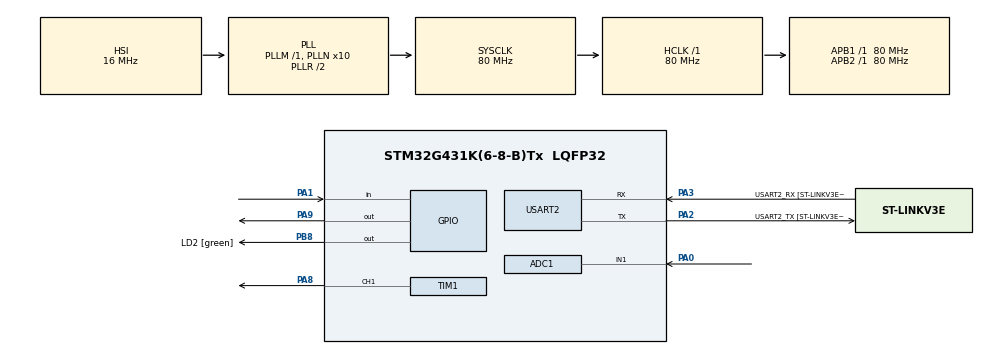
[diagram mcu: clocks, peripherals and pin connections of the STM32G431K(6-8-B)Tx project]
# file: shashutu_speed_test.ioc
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ADC1.Channel-0\#ChannelRegularConversion=ADC_CHANNEL_1
ADC1.ContinuousConvMode=ENABLE
ADC1.DMAContinuousRequests=ENABLE
ADC1.NbrOfConversionFlag=1
ADC1.OffsetNumber-0\#ChannelRegularConversion=ADC_OFFSET_NONE
ADC1.Rank-0\#ChannelRegularConversion=1
ADC1.SamplingTime-0\#ChannelRegularConversion=ADC_SAMPLETIME_92CYCLES_5
ADC1.master=1
Dma.ADC1.0.Direction=DMA_PERIPH_TO_MEMORY
Dma.ADC1.0.EventEnable=DISABLE
Dma.ADC1.0.Instance=DMA1_Channel1
Dma.ADC1.0.MemDataAlignment=DMA_MDATAALIGN_HALFWORD
Dma.ADC1.0.MemInc=DMA_MINC_ENABLE
Dma.ADC1.0.Mode=DMA_CIRCULAR
Dma.ADC1.0.PeriphDataAlignment=DMA_PDATAALIGN_HALFWORD
Dma.ADC1.0.PeriphInc=DMA_PINC_DISABLE
Dma.ADC1.0.Polarity=HAL_DMAMUX_REQ_GEN_RISING
Dma.ADC1.0.Priority=DMA_PRIORITY_MEDIUM
Dma.ADC1.0.RequestNumber=1
Dma.ADC1.0.SignalID=NONE
Dma.ADC1.0.SyncEnable=DISABLE
Dma.ADC1.0.SyncPolarity=HAL_DMAMUX_SYNC_NO_EVENT
Dma.ADC1.0.SyncRequestNumber=1
Dma.ADC1.0.SyncSignalID=NONE
Dma.Request0=ADC1
Mcu.Family=STM32G4
Mcu.Name=STM32G431K(6-8-B)Tx
Mcu.Package=LQFP32
NVIC.DMA1_Channel1_IRQn=true\:0\:0\:false\:false\:true\:false\:true
NVIC.PriorityGroup=NVIC_PRIORITYGROUP_4
NVIC.TIM1_BRK_TIM15_IRQn=true\:15\:0\:false\:false\:true\:false\:true
NVIC.TIM2_IRQn=true\:0\:0\:false\:false\:true\:true\:true
NVIC.TIM4_IRQn=true\:0\:0\:false\:false\:true\:true\:true
NVIC.TimeBase=TIM1_BRK_TIM15_IRQn
NVIC.TimeBaseIP=TIM15
PA0.Mode=IN1-Single-Ended
PA0.Signal=ADC1_IN1
PA1.Signal=GPIO_Input
PA13.GPIO_Label=T_SWDIO
PA13.Mode=Serial_Wire
PA13.Signal=SYS_JTMS-SWDIO
PA14.GPIO_Label=T_SWCLK
PA14.Mode=Serial_Wire
PA14.Signal=SYS_JTCK-SWCLK
PA2.GPIO_Label=USART2_TX [ST-LINKV3E_VCP_RX]
PA2.Mode=Asynchronous
PA2.Signal=USART2_TX
PA3.GPIO_Label=USART2_RX [ST-LINKV3E_VCP_TX]
PA3.Mode=Asynchronous
PA3.Signal=USART2_RX
PA8.Signal=S_TIM1_CH1
PA9.Signal=GPIO_Output
PB3.GPIO_Label=T_SWO
PB3.Signal=SYS_JTDO-SWO
PB8-BOOT0.GPIO_Label=LD2 [green]
PB8-BOOT0.Signal=GPIO_Output
ProjectManager.HeapSize=0x200
ProjectManager.StackSize=0x400
ProjectManager.TargetToolchain=STM32CubeIDE
RCC.ADC12Freq_Value=80000000
RCC.AHBFreq_Value=80000000
RCC.APB1Freq_Value=80000000
RCC.APB1TimFreq_Value=80000000
RCC.APB2Freq_Value=80000000
RCC.APB2TimFreq_Value=80000000
RCC.CortexFreq_Value=80000000
RCC.EXTERNAL_CLOCK_VALUE=12288000
RCC.HCLKFreq_Value=80000000
RCC.HSE_VALUE=8000000
RCC.HSI48_VALUE=48000000
RCC.HSI_VALUE=16000000
RCC.LSE_VALUE=32768
RCC.PLLN=10
RCC.SYSCLKFreq_VALUE=80000000
RCC.SYSCLKSource=RCC_SYSCLKSOURCE_PLLCLK
RCC.USBFreq_Value=80000000
RCC.VCOOutputFreq_Value=160000000
SH.S_TIM1_CH1.0=TIM1_CH1,PWM Generation1 CH1
TIM1.Channel-PWM\ Generation1\ CH1=TIM_CHANNEL_1
TIM1.PeriodNoDither=1000-1
TIM1.Prescaler=8-1
TIM2.PeriodNoDither=1000-1
TIM2.Prescaler=80-1
TIM4.PeriodNoDither=1000-1
TIM4.Prescaler=80-1
USART2.VirtualMode-Asynchronous=VM_ASYNC
USART2.WordLength=WORDLENGTH_8B
VP_SYS_VS_DBSignals.Mode=DisableDeadBatterySignals
VP_SYS_VS_tim15.Mode=TIM15
VP_TIM1_VS_ClockSourceINT.Mode=Internal
VP_TIM2_VS_ClockSourceINT.Mode=Internal
VP_TIM4_VS_ClockSourceINT.Mode=Internal
board=NUCLEO-G431KB

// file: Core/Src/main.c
/* USER CODE BEGIN Header */
/**
  ******************************************************************************
  * @file           : main.c
  * @brief          : Main program body
  ******************************************************************************
  * @attention
  *
  * <h2><center>&copy; Copyright (c) 2023 STMicroelectronics.
  * All rights reserved.</center></h2>
  *
  * This software component is licensed by ST under BSD 3-Clause license,
  * the "License"; You may not use this file except in compliance with the
  * License. You may obtain a copy of the License at:
  *                        opensource.org/licenses/BSD-3-Clause
  *
  ******************************************************************************
  */
/* USER CODE END Header */
#include "main.h"

/* USER CODE BEGIN Includes */
#include "stdio.h"
#include "string.h"
#include "stdlib.h"
#include "math.h"

#include "PID_anti_windup.h"
#include "PID_anti_windup_pos.h"
/* USER CODE END Includes */

/* USER CODE BEGIN PD */
#define POS_FILTER_C 0.85f
#define SPEED_FILTER_C 0.7f

#define ADC_BOTTOM 800
#define ADC_TOP 3800
#define STROKE 0.3f
#define TOGGLE_CONT_TH 0.25f
/* USER CODE END PD */

ADC_HandleTypeDef hadc1;
DMA_HandleTypeDef hdma_adc1;

TIM_HandleTypeDef htim1;
TIM_HandleTypeDef htim2;
TIM_HandleTypeDef htim4;

UART_HandleTypeDef huart2;

/* USER CODE BEGIN PV */
uint16_t ADC_VAL;
volatile float VAL_FILTERED = 0;
volatile float target = ADC_BOTTOM;

volatile float timer = 0;
volatile float target_speed = 2.5;
volatile float duty = 0;
volatile float pos_filtered = 0;
volatile float pre_pos = 0;
volatile float curr_speed_filtered = 0;
/* USER CODE END PV */

void SystemClock_Config(void);
static void MX_GPIO_Init(void);
static void MX_DMA_Init(void);
static void MX_ADC1_Init(void);
static void MX_TIM1_Init(void);
static void MX_TIM2_Init(void);
static void MX_TIM4_Init(void);
static void MX_USART2_UART_Init(void);

int main(void)
{
  /* USER CODE BEGIN 1 */
  setbuf(stdout, NULL);
  /* USER CODE END 1 */

  /* MCU Configuration--------------------------------------------------------*/

  /* Reset of all peripherals, Initializes the Flash interface and the Systick. */
  HAL_Init();

  /* Configure the system clock */
  SystemClock_Config();

  /* Initialize all configured peripherals */
  MX_GPIO_Init();
  MX_DMA_Init();
  MX_ADC1_Init();
  MX_TIM1_Init();
  MX_TIM2_Init();
  MX_TIM4_Init();
  MX_USART2_UART_Init();
  /* USER CODE BEGIN 2 */
  HAL_TIM_PWM_Start(&htim1, TIM_CHANNEL_1);
  HAL_TIM_Base_Start_IT(&htim2);
  HAL_TIM_Base_Start_IT(&htim4);
  HAL_ADCEx_Calibration_Start(&hadc1, ADC_SINGLE_ENDED);
  HAL_ADC_Start_DMA(&hadc1, (uint32_t *)&ADC_VAL, 1);
  HAL_GPIO_WritePin(LD2_GPIO_Port, LD2_Pin, GPIO_PIN_SET);

  __HAL_TIM_SET_COMPARE(&htim1, TIM_CHANNEL_1, 999);
  /* USER CODE END 2 */

  /* Infinite loop */
  /* USER CODE BEGIN WHILE */
  while (1)
  {

    HAL_Delay(5);
//    printf("%d\r\n", ADC_VAL);
//    printf("%d\r\n", HAL_GPIO_ReadPin(GPIOA, GPIO_PIN_1));
    if (HAL_GPIO_ReadPin(GPIOA, GPIO_PIN_1) == GPIO_PIN_SET) {
      HAL_TIM_Base_Start_IT(&htim2);
    } else {
      HAL_TIM_Base_Stop_IT(&htim2);
      __HAL_TIM_SET_COMPARE(&htim1, TIM_CHANNEL_1, 999);
    }

    /* USER CODE END WHILE */

  }
}

void SystemClock_Config(void)
{
  RCC_OscInitTypeDef RCC_OscInitStruct = {0};
  RCC_ClkInitTypeDef RCC_ClkInitStruct = {0};
  RCC_PeriphCLKInitTypeDef PeriphClkInit = {0};

  /** Configure the main internal regulator output voltage
  */
  HAL_PWREx_ControlVoltageScaling(PWR_REGULATOR_VOLTAGE_SCALE1);
  /** Initializes the RCC Oscillators according to the specified parameters
  * in the RCC_OscInitTypeDef structure.
  */
  RCC_OscInitStruct.OscillatorType = RCC_OSCILLATORTYPE_HSI;
  RCC_OscInitStruct.HSIState = RCC_HSI_ON;
  RCC_OscInitStruct.HSICalibrationValue = RCC_HSICALIBRATION_DEFAULT;
  RCC_OscInitStruct.PLL.PLLState = RCC_PLL_ON;
  RCC_OscInitStruct.PLL.PLLSource = RCC_PLLSOURCE_HSI;
  RCC_OscInitStruct.PLL.PLLM = RCC_PLLM_DIV1;
  RCC_OscInitStruct.PLL.PLLN = 10;
  RCC_OscInitStruct.PLL.PLLP = RCC_PLLP_DIV2;
  RCC_OscInitStruct.PLL.PLLQ = RCC_PLLQ_DIV2;
  RCC_OscInitStruct.PLL.PLLR = RCC_PLLR_DIV2;
  if (HAL_RCC_OscConfig(&RCC_OscInitStruct) != HAL_OK)
  {
    Error_Handler();
  }
  /** Initializes the CPU, AHB and APB buses clocks
  */
  RCC_ClkInitStruct.ClockType = RCC_CLOCKTYPE_HCLK|RCC_CLOCKTYPE_SYSCLK
                              |RCC_CLOCKTYPE_PCLK1|RCC_CLOCKTYPE_PCLK2;
  RCC_ClkInitStruct.SYSCLKSource = RCC_SYSCLKSOURCE_PLLCLK;
  RCC_ClkInitStruct.AHBCLKDivider = RCC_SYSCLK_DIV1;
  RCC_ClkInitStruct.APB1CLKDivider = RCC_HCLK_DIV1;
  RCC_ClkInitStruct.APB2CLKDivider = RCC_HCLK_DIV1;

  if (HAL_RCC_ClockConfig(&RCC_ClkInitStruct, FLASH_LATENCY_2) != HAL_OK)
  {
    Error_Handler();
  }
  /** Initializes the peripherals clocks
  */
  PeriphClkInit.PeriphClockSelection = RCC_PERIPHCLK_USART2|RCC_PERIPHCLK_ADC12;
  PeriphClkInit.Usart2ClockSelection = RCC_USART2CLKSOURCE_PCLK1;
  PeriphClkInit.Adc12ClockSelection = RCC_ADC12CLKSOURCE_SYSCLK;
  if (HAL_RCCEx_PeriphCLKConfig(&PeriphClkInit) != HAL_OK)
  {
    Error_Handler();
  }
}

static void MX_ADC1_Init(void)
{

  ADC_MultiModeTypeDef multimode = {0};
  ADC_ChannelConfTypeDef sConfig = {0};

  /** Common config
  */
  hadc1.Instance = ADC1;
  hadc1.Init.ClockPrescaler = ADC_CLOCK_SYNC_PCLK_DIV2;
  hadc1.Init.Resolution = ADC_RESOLUTION_12B;
  hadc1.Init.DataAlign = ADC_DATAALIGN_RIGHT;
  hadc1.Init.GainCompensation = 0;
  hadc1.Init.ScanConvMode = ADC_SCAN_DISABLE;
  hadc1.Init.EOCSelection = ADC_EOC_SINGLE_CONV;
  hadc1.Init.LowPowerAutoWait = DISABLE;
  hadc1.Init.ContinuousConvMode = ENABLE;
  hadc1.Init.NbrOfConversion = 1;
  hadc1.Init.DiscontinuousConvMode = DISABLE;
  hadc1.Init.ExternalTrigConv = ADC_SOFTWARE_START;
  hadc1.Init.ExternalTrigConvEdge = ADC_EXTERNALTRIGCONVEDGE_NONE;
  hadc1.Init.DMAContinuousRequests = ENABLE;
  hadc1.Init.Overrun = ADC_OVR_DATA_PRESERVED;
  hadc1.Init.OversamplingMode = DISABLE;
  if (HAL_ADC_Init(&hadc1) != HAL_OK)
  {
    Error_Handler();
  }
  /** Configure the ADC multi-mode
  */
  multimode.Mode = ADC_MODE_INDEPENDENT;
  if (HAL_ADCEx_MultiModeConfigChannel(&hadc1, &multimode) != HAL_OK)
  {
    Error_Handler();
  }
  /** Configure Regular Channel
  */
  sConfig.Channel = ADC_CHANNEL_1;
  sConfig.Rank = ADC_REGULAR_RANK_1;
  sConfig.SamplingTime = ADC_SAMPLETIME_92CYCLES_5;
  sConfig.SingleDiff = ADC_SINGLE_ENDED;
  sConfig.OffsetNumber = ADC_OFFSET_NONE;
  sConfig.Offset = 0;
  if (HAL_ADC_ConfigChannel(&hadc1, &sConfig) != HAL_OK)
  {
    Error_Handler();
  }

}

static void MX_TIM1_Init(void)
{

  TIM_ClockConfigTypeDef sClockSourceConfig = {0};
  TIM_MasterConfigTypeDef sMasterConfig = {0};
  TIM_OC_InitTypeDef sConfigOC = {0};
  TIM_BreakDeadTimeConfigTypeDef sBreakDeadTimeConfig = {0};

  htim1.Instance = TIM1;
  htim1.Init.Prescaler = 8-1;
  htim1.Init.CounterMode = TIM_COUNTERMODE_UP;
  htim1.Init.Period = 999;
  htim1.Init.ClockDivision = TIM_CLOCKDIVISION_DIV1;
  htim1.Init.RepetitionCounter = 0;
  htim1.Init.AutoReloadPreload = TIM_AUTORELOAD_PRELOAD_DISABLE;
  if (HAL_TIM_Base_Init(&htim1) != HAL_OK)
  {
    Error_Handler();
  }
  sClockSourceConfig.ClockSource = TIM_CLOCKSOURCE_INTERNAL;
  if (HAL_TIM_ConfigClockSource(&htim1, &sClockSourceConfig) != HAL_OK)
  {
    Error_Handler();
  }
  if (HAL_TIM_PWM_Init(&htim1) != HAL_OK)
  {
    Error_Handler();
  }
  sMasterConfig.MasterOutputTrigger = TIM_TRGO_RESET;
  sMasterConfig.MasterOutputTrigger2 = TIM_TRGO2_RESET;
  sMasterConfig.MasterSlaveMode = TIM_MASTERSLAVEMODE_DISABLE;
  if (HAL_TIMEx_MasterConfigSynchronization(&htim1, &sMasterConfig) != HAL_OK)
  {
    Error_Handler();
  }
  sConfigOC.OCMode = TIM_OCMODE_PWM1;
  sConfigOC.Pulse = 0;
  sConfigOC.OCPolarity = TIM_OCPOLARITY_HIGH;
  sConfigOC.OCNPolarity = TIM_OCNPOLARITY_HIGH;
  sConfigOC.OCFastMode = TIM_OCFAST_DISABLE;
  sConfigOC.OCIdleState = TIM_OCIDLESTATE_RESET;
  sConfigOC.OCNIdleState = TIM_OCNIDLESTATE_RESET;
  if (HAL_TIM_PWM_ConfigChannel(&htim1, &sConfigOC, TIM_CHANNEL_1) != HAL_OK)
  {
    Error_Handler();
  }
  sBreakDeadTimeConfig.OffStateRunMode = TIM_OSSR_DISABLE;
  sBreakDeadTimeConfig.OffStateIDLEMode = TIM_OSSI_DISABLE;
  sBreakDeadTimeConfig.LockLevel = TIM_LOCKLEVEL_OFF;
  sBreakDeadTimeConfig.DeadTime = 0;
  sBreakDeadTimeConfig.BreakState = TIM_BREAK_DISABLE;
  sBreakDeadTimeConfig.BreakPolarity = TIM_BREAKPOLARITY_HIGH;
  sBreakDeadTimeConfig.BreakFilter = 0;
  sBreakDeadTimeConfig.BreakAFMode = TIM_BREAK_AFMODE_INPUT;
  sBreakDeadTimeConfig.Break2State = TIM_BREAK2_DISABLE;
  sBreakDeadTimeConfig.Break2Polarity = TIM_BREAK2POLARITY_HIGH;
  sBreakDeadTimeConfig.Break2Filter = 0;
  sBreakDeadTimeConfig.Break2AFMode = TIM_BREAK_AFMODE_INPUT;
  sBreakDeadTimeConfig.AutomaticOutput = TIM_AUTOMATICOUTPUT_DISABLE;
  if (HAL_TIMEx_ConfigBreakDeadTime(&htim1, &sBreakDeadTimeConfig) != HAL_OK)
  {
    Error_Handler();
  }
  HAL_TIM_MspPostInit(&htim1);

}

static void MX_TIM2_Init(void)
{

  TIM_ClockConfigTypeDef sClockSourceConfig = {0};
  TIM_MasterConfigTypeDef sMasterConfig = {0};

  htim2.Instance = TIM2;
  htim2.Init.Prescaler = 80-1;
  htim2.Init.CounterMode = TIM_COUNTERMODE_UP;
  htim2.Init.Period = 999;
  htim2.Init.ClockDivision = TIM_CLOCKDIVISION_DIV1;
  htim2.Init.AutoReloadPreload = TIM_AUTORELOAD_PRELOAD_DISABLE;
  if (HAL_TIM_Base_Init(&htim2) != HAL_OK)
  {
    Error_Handler();
  }
  sClockSourceConfig.ClockSource = TIM_CLOCKSOURCE_INTERNAL;
  if (HAL_TIM_ConfigClockSource(&htim2, &sClockSourceConfig) != HAL_OK)
  {
    Error_Handler();
  }
  sMasterConfig.MasterOutputTrigger = TIM_TRGO_RESET;
  sMasterConfig.MasterSlaveMode = TIM_MASTERSLAVEMODE_DISABLE;
  if (HAL_TIMEx_MasterConfigSynchronization(&htim2, &sMasterConfig) != HAL_OK)
  {
    Error_Handler();
  }

}

static void MX_TIM4_Init(void)
{

  TIM_ClockConfigTypeDef sClockSourceConfig = {0};
  TIM_MasterConfigTypeDef sMasterConfig = {0};

  htim4.Instance = TIM4;
  htim4.Init.Prescaler = 80-1;
  htim4.Init.CounterMode = TIM_COUNTERMODE_UP;
  htim4.Init.Period = 999;
  htim4.Init.ClockDivision = TIM_CLOCKDIVISION_DIV1;
  htim4.Init.AutoReloadPreload = TIM_AUTORELOAD_PRELOAD_DISABLE;
  if (HAL_TIM_Base_Init(&htim4) != HAL_OK)
  {
    Error_Handler();
  }
  sClockSourceConfig.ClockSource = TIM_CLOCKSOURCE_INTERNAL;
  if (HAL_TIM_ConfigClockSource(&htim4, &sClockSourceConfig) != HAL_OK)
  {
    Error_Handler();
  }
  sMasterConfig.MasterOutputTrigger = TIM_TRGO_RESET;
  sMasterConfig.MasterSlaveMode = TIM_MASTERSLAVEMODE_DISABLE;
  if (HAL_TIMEx_MasterConfigSynchronization(&htim4, &sMasterConfig) != HAL_OK)
  {
    Error_Handler();
  }

}

static void MX_USART2_UART_Init(void)
{

  huart2.Instance = USART2;
  huart2.Init.BaudRate = 115200;
  huart2.Init.WordLength = UART_WORDLENGTH_8B;
  huart2.Init.StopBits = UART_STOPBITS_1;
  huart2.Init.Parity = UART_PARITY_NONE;
  huart2.Init.Mode = UART_MODE_TX_RX;
  huart2.Init.HwFlowCtl = UART_HWCONTROL_NONE;
  huart2.Init.OverSampling = UART_OVERSAMPLING_16;
  huart2.Init.OneBitSampling = UART_ONE_BIT_SAMPLE_DISABLE;
  huart2.Init.ClockPrescaler = UART_PRESCALER_DIV1;
  huart2.AdvancedInit.AdvFeatureInit = UART_ADVFEATURE_NO_INIT;
  if (HAL_UART_Init(&huart2) != HAL_OK)
  {
    Error_Handler();
  }
  if (HAL_UARTEx_SetTxFifoThreshold(&huart2, UART_TXFIFO_THRESHOLD_1_8) != HAL_OK)
  {
    Error_Handler();
  }
  if (HAL_UARTEx_SetRxFifoThreshold(&huart2, UART_RXFIFO_THRESHOLD_1_8) != HAL_OK)
  {
    Error_Handler();
  }
  if (HAL_UARTEx_DisableFifoMode(&huart2) != HAL_OK)
  {
    Error_Handler();
  }

}

static void MX_DMA_Init(void)
{

  /* DMA controller clock enable */
  __HAL_RCC_DMAMUX1_CLK_ENABLE();
  __HAL_RCC_DMA1_CLK_ENABLE();

  /* DMA interrupt init */
  /* DMA1_Channel1_IRQn interrupt configuration */
  HAL_NVIC_SetPriority(DMA1_Channel1_IRQn, 0, 0);
  HAL_NVIC_EnableIRQ(DMA1_Channel1_IRQn);

}

static void MX_GPIO_Init(void)
{
  GPIO_InitTypeDef GPIO_InitStruct = {0};

  /* GPIO Ports Clock Enable */
  __HAL_RCC_GPIOA_CLK_ENABLE();
  __HAL_RCC_GPIOB_CLK_ENABLE();

  /*Configure GPIO pin Output Level */
  HAL_GPIO_WritePin(GPIOA, GPIO_PIN_9, GPIO_PIN_RESET);

  /*Configure GPIO pin Output Level */
  HAL_GPIO_WritePin(LD2_GPIO_Port, LD2_Pin, GPIO_PIN_RESET);

  /*Configure GPIO pin : PA1 */
  GPIO_InitStruct.Pin = GPIO_PIN_1;
  GPIO_InitStruct.Mode = GPIO_MODE_INPUT;
  GPIO_InitStruct.Pull = GPIO_NOPULL;
  HAL_GPIO_Init(GPIOA, &GPIO_InitStruct);

  /*Configure GPIO pin : PA9 */
  GPIO_InitStruct.Pin = GPIO_PIN_9;
  GPIO_InitStruct.Mode = GPIO_MODE_OUTPUT_PP;
  GPIO_InitStruct.Pull = GPIO_NOPULL;
  GPIO_InitStruct.Speed = GPIO_SPEED_FREQ_LOW;
  HAL_GPIO_Init(GPIOA, &GPIO_InitStruct);

  /*Configure GPIO pin : LD2_Pin */
  GPIO_InitStruct.Pin = LD2_Pin;
  GPIO_InitStruct.Mode = GPIO_MODE_OUTPUT_PP;
  GPIO_InitStruct.Pull = GPIO_NOPULL;
  GPIO_InitStruct.Speed = GPIO_SPEED_FREQ_LOW;
  HAL_GPIO_Init(LD2_GPIO_Port, &GPIO_InitStruct);

}

/* USER CODE BEGIN 4 */
int _write(int file, char *ptr, int len) {
  HAL_UART_Transmit(&huart2, (uint8_t *)ptr, len, 5);
  return len;
}

float ADC_VAL_to_pos(int ADC_VAL) {
  return (float)(ADC_VAL-ADC_BOTTOM)/(float)(ADC_TOP-ADC_BOTTOM)*STROKE;
}
/* USER CODE END 4 */

void HAL_TIM_PeriodElapsedCallback(TIM_HandleTypeDef *htim)
{
  if (htim->Instance == TIM15) {
    HAL_IncTick();
  }
  /* USER CODE BEGIN Callback 1 */
  if (htim->Instance == TIM2) {
//    printf("TIM2\r\n");

    if (pos_filtered < TOGGLE_CONT_TH) {
      // speed control
      HAL_GPIO_WritePin(LD2_GPIO_Port, LD2_Pin, GPIO_PIN_RESET);
      duty += calc_output_PID_AW(target_speed, curr_speed_filtered, 0.001);
    } else {
      //position control
//      printf("pos control\r\n");
      HAL_GPIO_WritePin(LD2_GPIO_Port, LD2_Pin, GPIO_PIN_SET);
      duty = calc_output_PID_AW_pos(ADC_TOP, ADC_VAL, 0.001);
    }

    if (duty > 950) {
      duty = 950;
    } else if (duty < -950) {
      duty = -950;
    }
    if ((duty <= 0)) {
      __HAL_TIM_SET_COMPARE(&htim1, TIM_CHANNEL_1, (1000+(int)duty));
      HAL_GPIO_WritePin(GPIOA, GPIO_PIN_9, GPIO_PIN_RESET);
//      HAL_GPIO_WritePin(LD2_GPIO_Port, LD2_Pin, GPIO_PIN_RESET);
    } else {
      __HAL_TIM_SET_COMPARE(&htim1, TIM_CHANNEL_1, (1000-(int)duty));
      HAL_GPIO_WritePin(GPIOA, GPIO_PIN_9, GPIO_PIN_SET);
//      HAL_GPIO_WritePin(LD2_GPIO_Port, LD2_Pin, GPIO_PIN_SET);
    }

  }

  if (htim->Instance == TIM4) {
    pos_filtered = pos_filtered * POS_FILTER_C + (1 - POS_FILTER_C) * ADC_VAL_to_pos(ADC_VAL);
    curr_speed_filtered = SPEED_FILTER_C * curr_speed_filtered + (1 - SPEED_FILTER_C) * ((pos_filtered - pre_pos) / 0.001);
    pre_pos = pos_filtered;
//    target = 2000;

    timer += 0.001f;
    if (HAL_GPIO_ReadPin(GPIOA, GPIO_PIN_1) == GPIO_PIN_SET) {
//      printf("%.3f, %d, %.3f\r\n", pos_filtered, ADC_VAL, curr_speed_filtered);
      printf("%.3f\r\n", curr_speed_filtered);
    }
  }

  /* USER CODE END Callback 1 */
}

void Error_Handler(void)
{
  __disable_irq();
  while (1)
  {
  }
}

/************************ (C) COPYRIGHT STMicroelectronics *****END OF FILE****/
